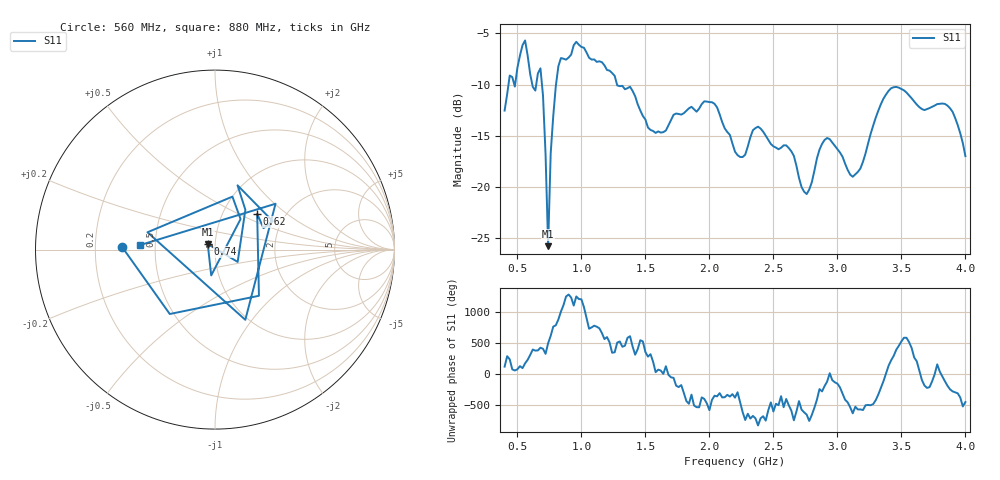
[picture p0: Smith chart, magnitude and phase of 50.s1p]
!Created with skrf (http://scikit-rf.org).
# Hz S RI R 50.0
!freq ReS11 ImS11
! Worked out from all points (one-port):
!   181 points, 400 MHz to 4 GHz, reference 50 ohm
!   lowest |S11| = -25.8 dB at 740 MHz (marker M1), VSWR 1.11, Z = 46 + j2.89 ohm
!   |S11| at or under -10 dB: start of sweep to 430.3 MHz; 691.9 MHz to 801.6 MHz (109.7 MHz wide, 14.7 % of centre); 1.278 GHz to end of sweep (the widest 3 of 5)
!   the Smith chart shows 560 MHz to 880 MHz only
!   S11 on the Smith chart (normalised r, x): 560 MHz: 0.32, +0.01; 620 MHz: 1.45, +0.64; 740 MHz: 0.92, +0.06; 880 MHz: 0.41, +0.03
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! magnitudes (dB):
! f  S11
! 400 MHz  -12.5
! 440 MHz  -9.1
! 480 MHz  -10.2
! 560 MHz  -5.7
! 620 MHz  -10.2
! 680 MHz  -8.4
! 720 MHz  -16.8
! 740 MHz  -25.8
! 760 MHz  -16.7
! 780 MHz  -13.1
! 820 MHz  -8.2
! 860 MHz  -7.5
! 880 MHz  -7.6
! 960 MHz  -5.8
! 1.3 GHz  -10.2
! 1.58 GHz  -14.7
! 1.76 GHz  -12.9
! 2.04 GHz  -11.9
! 2.2 GHz  -16.6
! 2.38 GHz  -14.1
! 2.66 GHz  -17.0
! 2.76 GHz  -20.7
! 2.92 GHz  -15.2
! 3.1 GHz  -18.8
! 3.4 GHz  -10.6
! 3.56 GHz  -11.1
! 3.88 GHz  -12.3
! 4 GHz  -17.0
